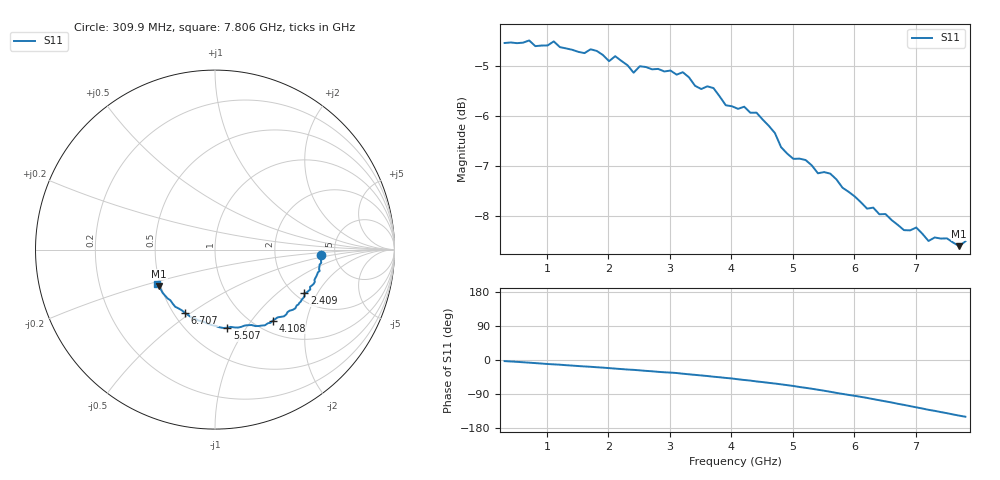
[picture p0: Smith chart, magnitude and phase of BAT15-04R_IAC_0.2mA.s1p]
! Infineon Technologies  Discrete & RF Semiconductors
! BAT15-04R
! IAC = 0.2 mA
! One-Port S-Parameters
# Hz  S  MA  R  50
!f  S11
!Hz  Mag  Ang
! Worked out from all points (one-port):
!   76 points, 309.9 MHz to 7.806 GHz, reference 50 ohm
!   lowest |S11| = -8.6 dB at 7.706 GHz (marker M1), VSWR 2.18, Z = 24.5 - j11.5 ohm
!   |S11| at or under -10 dB: nowhere
!   S11 on the Smith chart (normalised r, x): 309.9 MHz: 3.88, -0.36; 2.409 GHz: 2.23, -1.56; 4.108 GHz: 1.20, -1.28; 5.507 GHz: 0.76, -0.82; 6.707 GHz: 0.57, -0.47; 7.806 GHz: 0.48, -0.21
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3.0985e8  0.593 -2.9
1.10945e9  0.5952 -11.5
1.30935e9  0.5857 -13.7
1.6092e9  0.5794 -17.0
1.70915e9  0.5845 -17.9
2.2089e9  0.5691 -23.9
2.4088e9  0.5538 -26.0
2.50875e9  0.5621 -27.3
3.10845e9  0.5514 -34.4
3.2084e9  0.5544 -36.2
3.50825e9  0.5334 -40.7
3.70815e9  0.5346 -44.1
3.90805e9  0.5139 -47.3
4.10795e9  0.5097 -50.9
4.4078e9  0.5052 -56.6
5.0075e9  0.4543 -68.6
5.2074e9  0.4531 -73.5
5.50725e9  0.4407 -81.0
5.70715e9  0.4334 -86.8
6.007e9  0.4167 -94.6
6.50675e9  0.4002 -109.2
6.70665e9  0.3903 -115.5
6.90655e9  0.3854 -121.7
7.0065e9  0.388 -124.9
7.2064e9  0.3761 -131.5
7.4063e9  0.3783 -137.4
7.70615e9  0.3717 -146.9
7.8061e9  0.3758 -149.7
